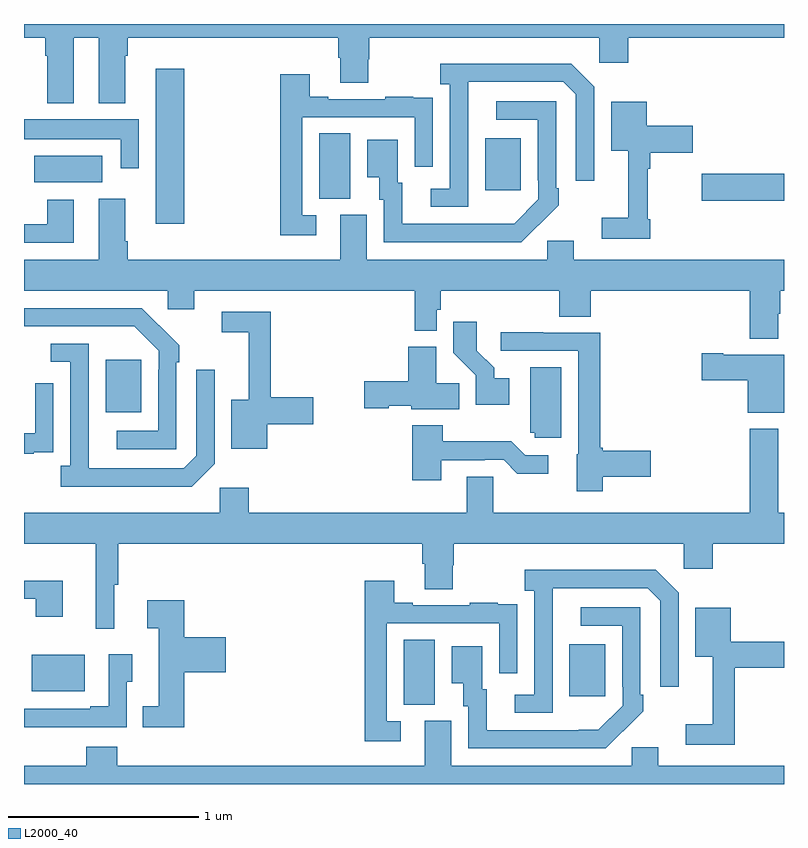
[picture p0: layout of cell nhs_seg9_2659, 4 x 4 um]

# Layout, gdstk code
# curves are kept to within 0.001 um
import gdstk
lib = gdstk.Library(unit=1e-6, precision=1e-09)
def R(c, l, rs):  # rectangles x0, y0, x1, y1
    for r in rs: c.add(gdstk.rectangle(r[:2], r[2:], *l))
def P(c, l, *ps):  # polygons
    for p in ps: c.add(gdstk.Polygon(p, *l))
L2000_40 = (2000, 40)

nhs_seg9_2659 = lib.new_cell('nhs_seg9_2659')
R(nhs_seg9_2659, L2000_40, [(264.998,1184.917,265.162,1185.26), (265.871,1184.961,266.059,1185.235), (263.042,1184.987,263.32,1185.181), (263.429,1186.457,263.617,1186.732), (263.693,1187.448,263.843,1188.265), (266.568,1187.569,267,1187.711), (264.554,1187.581,264.718,1187.924), (265.427,1187.625,265.615,1187.899), (263.054,1187.666,263.413,1187.806)])
P(nhs_seg9_2659, L2000_40, [(263.263,1188.428),(263.393,1188.428),(263.393,1188.083),(263.533,1188.083),(263.533,1188.332),(263.546,1188.332),(263.546,1188.428),(264.653,1188.428),(264.653,1188.322),(264.665,1188.322),(264.665,1188.19),(264.813,1188.19),(264.813,1188.315),(264.818,1188.315),(264.818,1188.428),(266.028,1188.428),(266.028,1188.297),(266.18,1188.297),(266.18,1188.428),(267,1188.428),(267,1188.5),(263,1188.5),(263,1188.428),(263.111,1188.428),(263.111,1188.332),(263.123,1188.332),(263.123,1188.083),(263.263,1188.083)],
  [(265.338,1187.995),(265.339,1188.195),(265.839,1188.195),(265.905,1188.129),(265.905,1187.676),(266.001,1187.676),(266.001,1188.171),(265.88,1188.292),(265.191,1188.292),(265.191,1188.182),(265.242,1188.182),(265.242,1187.634),(265.14,1187.634),(265.14,1187.538),(265.338,1187.538)],
  [(264.538,1187.493),(264.465,1187.493),(264.465,1188.009),(265.056,1188.009),(265.056,1187.748),(265.152,1187.748),(265.152,1188.002),(265.151,1188.002),(265.151,1188.111),(265.049,1188.111),(265.049,1188.118),(264.901,1188.118),(264.901,1188.105),(264.601,1188.105),(264.601,1188.118),(264.505,1188.118),(264.505,1188.235),(264.349,1188.235),(264.349,1187.388),(264.538,1187.388)],
  [(265.709,1187.443),(265.71,1187.442),(265.815,1187.547),(265.815,1187.635),(265.8,1187.635),(265.8,1188.093),(265.485,1188.093),(265.485,1187.997),(265.704,1187.997),(265.704,1187.677),(265.707,1187.677),(265.707,1187.577),(265.579,1187.449),(264.991,1187.448),(264.991,1187.664),(264.967,1187.664),(264.967,1187.89),(264.806,1187.89),(264.806,1187.693),(264.869,1187.693),(264.869,1187.574),(264.894,1187.574),(264.894,1187.352),(265.618,1187.352)],
  [(266.297,1187.473),(266.282,1187.473),(266.282,1187.738),(266.297,1187.738),(266.297,1187.822),(266.521,1187.822),(266.521,1187.964),(266.278,1187.964),(266.278,1188.091),(266.09,1188.091),(266.09,1187.834),(266.18,1187.834),(266.18,1187.479),(266.04,1187.479),(266.04,1187.37),(266.297,1187.37)],
  [(263.604,1187.998),(263,1187.998),(263,1187.894),(263.508,1187.894),(263.508,1187.742),(263.604,1187.742)],
  [(266.971,1186.976),(266.979,1186.976),(266.979,1187.096),(267,1187.096),(267,1187.26),(265.894,1187.26),(265.894,1187.358),(265.755,1187.358),(265.755,1187.26),(264.805,1187.26),(264.805,1187.496),(264.665,1187.496),(264.665,1187.26),(263.546,1187.26),(263.546,1187.356),(263.533,1187.356),(263.533,1187.581),(263.393,1187.581),(263.393,1187.26),(263,1187.26),(263,1187.096),(263.757,1187.096),(263.757,1186.998),(263.896,1186.998),(263.896,1187.096),(265.057,1187.096),(265.057,1186.886),(265.173,1186.886),(265.173,1186.995),(265.193,1186.995),(265.193,1187.096),(265.817,1187.096),(265.817,1186.96),(265.982,1186.96),(265.982,1187.096),(266.819,1187.096),(266.819,1186.844),(266.971,1186.844)],
  [(263.263,1187.575),(263.123,1187.575),(263.123,1187.445),(263,1187.445),(263,1187.349),(263.263,1187.349)],
  [(263.802,1186.721),(263.817,1186.721),(263.817,1186.809),(263.62,1187.004),(263,1187.004),(263,1186.908),(263.581,1186.908),(263.709,1186.779),(263.709,1186.679),(263.706,1186.679),(263.706,1186.359),(263.487,1186.359),(263.487,1186.263),(263.802,1186.263)],
  [(264.28,1186.393),(264.523,1186.393),(264.523,1186.535),(264.299,1186.535),(264.299,1186.986),(264.042,1186.986),(264.042,1186.878),(264.182,1186.878),(264.182,1186.522),(264.092,1186.522),(264.092,1186.265),(264.28,1186.265)],
  [(265.555,1186.636),(265.474,1186.636),(265.474,1186.691),(265.384,1186.781),(265.384,1186.933),(265.258,1186.933),(265.258,1186.77),(265.377,1186.651),(265.377,1186.496),(265.555,1186.496)],
  [(266.046,1186.118),(266.299,1186.118),(266.299,1186.253),(266.046,1186.253),(266.046,1186.271),(266.033,1186.271),(266.033,1186.875),(265.733,1186.875),(265.733,1186.878),(265.509,1186.878),(265.509,1186.779),(265.917,1186.779),(265.917,1186.236),(265.91,1186.236),(265.91,1186.04),(266.046,1186.04)],
  [(264.003,1186.185),(264.003,1186.681),(263.907,1186.681),(263.907,1186.227),(263.841,1186.161),(263.341,1186.161),(263.34,1186.818),(263.142,1186.818),(263.142,1186.722),(263.244,1186.722),(263.244,1186.174),(263.193,1186.174),(263.193,1186.064),(263.882,1186.064)],
  [(265.292,1186.61),(265.171,1186.61),(265.171,1186.801),(265.022,1186.801),(265.022,1186.62),(264.792,1186.62),(264.792,1186.478),(264.921,1186.478),(264.921,1186.49),(265.038,1186.49),(265.038,1186.472),(265.292,1186.472)],
  [(267,1186.759),(266.68,1186.759),(266.68,1186.767),(266.568,1186.767),(266.568,1186.625),(266.81,1186.625),(266.81,1186.454),(267,1186.454)],
  [(265.828,1186.694),(265.664,1186.694),(265.664,1186.35),(265.689,1186.35),(265.689,1186.323),(265.828,1186.323)],
  [(263.051,1186.245),(263.153,1186.245),(263.153,1186.354),(263.154,1186.354),(263.154,1186.609),(263.058,1186.609),(263.058,1186.347),(263,1186.347),(263,1186.239),(263.051,1186.239)],
  [(265.195,1186.203),(265.424,1186.203),(265.424,1186.206),(265.524,1186.206),(265.597,1186.133),(265.759,1186.133),(265.759,1186.23),(265.638,1186.23),(265.565,1186.303),(265.203,1186.303),(265.203,1186.387),(265.043,1186.387),(265.043,1186.098),(265.195,1186.098)],
  [(263.476,1185.549),(263.495,1185.549),(263.495,1185.764),(265.097,1185.764),(265.097,1185.658),(265.109,1185.658),(265.109,1185.526),(265.257,1185.526),(265.257,1185.651),(265.262,1185.651),(265.262,1185.764),(266.472,1185.764),(266.472,1185.633),(266.624,1185.633),(266.624,1185.764),(267,1185.764),(267,1185.928),(266.971,1185.928),(266.971,1186.369),(266.819,1186.369),(266.819,1185.928),(265.47,1185.928),(265.47,1186.118),(265.331,1186.118),(265.331,1185.928),(264.182,1185.928),(264.182,1186.06),(264.03,1186.06),(264.03,1185.928),(263,1185.928),(263,1185.764),(263.378,1185.764),(263.378,1185.318),(263.476,1185.318)],
  [(265.782,1185.331),(265.783,1185.531),(266.283,1185.531),(266.349,1185.465),(266.349,1185.012),(266.445,1185.012),(266.445,1185.507),(266.324,1185.628),(265.635,1185.628),(265.635,1185.518),(265.686,1185.518),(265.686,1184.97),(265.584,1184.97),(265.584,1184.874),(265.782,1184.874)],
  [(264.982,1184.829),(264.909,1184.829),(264.909,1185.345),(265.5,1185.345),(265.5,1185.084),(265.596,1185.084),(265.596,1185.338),(265.595,1185.338),(265.595,1185.447),(265.493,1185.447),(265.493,1185.454),(265.345,1185.454),(265.345,1185.441),(265.045,1185.441),(265.045,1185.454),(264.949,1185.454),(264.949,1185.571),(264.793,1185.571),(264.793,1184.724),(264.982,1184.724)],
  [(263.203,1185.57),(263,1185.57),(263,1185.474),(263.063,1185.474),(263.063,1185.381),(263.203,1185.381)],
  [(263.843,1185.089),(264.061,1185.089),(264.061,1185.272),(263.843,1185.272),(263.843,1185.466),(263.649,1185.466),(263.649,1185.319),(263.708,1185.319),(263.708,1184.908),(263.626,1184.908),(263.626,1184.798),(263.843,1184.798)],
  [(266.153,1184.779),(266.154,1184.778),(266.259,1184.883),(266.259,1184.971),(266.244,1184.971),(266.244,1185.429),(265.929,1185.429),(265.929,1185.333),(266.148,1185.333),(266.148,1185.013),(266.151,1185.013),(266.151,1184.913),(266.023,1184.785),(265.435,1184.784),(265.435,1185),(265.411,1185),(265.411,1185.226),(265.25,1185.226),(265.25,1185.029),(265.313,1185.029),(265.313,1184.91),(265.338,1184.91),(265.338,1184.688),(266.062,1184.688)],
  [(266.741,1185.112),(267,1185.112),(267,1185.248),(266.721,1185.248),(266.721,1185.427),(266.534,1185.427),(266.534,1185.17),(266.624,1185.17),(266.624,1184.815),(266.484,1184.815),(266.484,1184.706),(266.741,1184.706)],
  [(263.243,1184.799),(263.541,1184.799),(263.541,1185.039),(263.569,1185.039),(263.569,1185.184),(263.445,1185.184),(263.445,1184.908),(263.348,1184.908),(263.348,1184.895),(263,1184.895),(263,1184.798),(263.243,1184.798)],
  [(267,1184.596),(266.338,1184.596),(266.338,1184.694),(266.199,1184.694),(266.199,1184.596),(265.249,1184.596),(265.249,1184.832),(265.109,1184.832),(265.109,1184.596),(263.492,1184.596),(263.492,1184.695),(263.327,1184.695),(263.327,1184.596),(263,1184.596),(263,1184.5),(267,1184.5)])

lib.write_gds('nhs_seg9_2659.gds')
